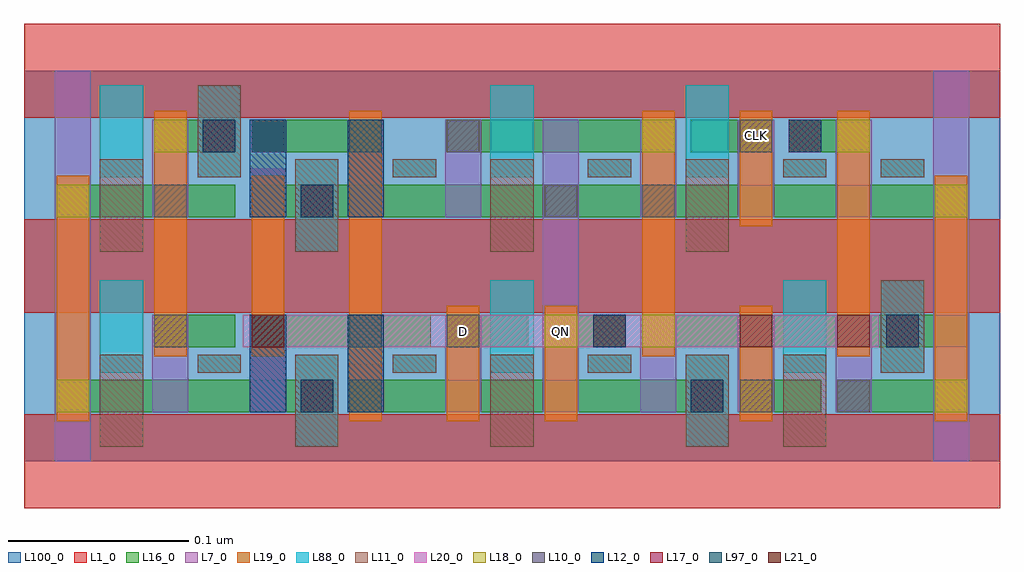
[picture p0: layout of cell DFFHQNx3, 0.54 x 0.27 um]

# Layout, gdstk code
import gdstk
lib = gdstk.Library(unit=1e-6, precision=2.5e-10)
def R(c, l, rs):  # rectangles x0, y0, x1, y1
    for r in rs: c.add(gdstk.rectangle(r[:2], r[2:], *l))
def A(c, l, x, y, w, h, nx, ny, dx, dy):  # array of equal rectangles
    R(c, l, [(x+i*dx, y+j*dy, x+i*dx+w, y+j*dy+h) for i in range(nx) for j in range(ny)])
L1_0 = (1, 0)
L7_0 = (7, 0)
L10_0 = (10, 0)
L11_0 = (11, 0)
L12_0 = (12, 0)
L16_0 = (16, 0)
L17_0 = (17, 0)
L18_0 = (18, 0)
L19_0 = (19, 0)
L20_0 = (20, 0)
L21_0 = (21, 0)
L88_0 = (88, 0)
L97_0 = (97, 0)
L100_0 = (100, 0)

dffhqnx3 = lib.new_cell('DFFHQNx3')
A(dffhqnx3, L1_0, 0, -0.026, 0.54, 0.052, 1, 3, 0, 0.108)
A(dffhqnx3, L7_0, 0.125, 0.027, 0.02, 0.054, 3, 1, 0.108, 0)
A(dffhqnx3, L7_0, 0.341, 0.135, 0.02, 0.054, 3, 1, 0.054, 0)
R(dffhqnx3, L7_0, [(0.017,0,0.037,0.108), (0.503,0,0.523,0.108), (0.071,0.027,0.091,0.081), (0.179,0.027,0.199,0.054), (0.287,0.027,0.307,0.108), (0.395,0.027,0.415,0.081), (0.449,0.027,0.469,0.081), (0.017,0.108,0.037,0.216), (0.287,0.108,0.307,0.189), (0.503,0.108,0.523,0.216), (0.071,0.135,0.091,0.189), (0.125,0.135,0.145,0.162), (0.179,0.135,0.199,0.189), (0.233,0.135,0.253,0.189)])
A(dffhqnx3, L10_0, 0.072, 0.063, 0.018, 0.018, 4, 1, 0.054, 0)
A(dffhqnx3, L10_0, 0.126, 0.171, 0.018, 0.018, 3, 1, 0.054, 0)
R(dffhqnx3, L10_0, [(0.18,0.027,0.198,0.045), (0.396,0.027,0.414,0.045), (0.45,0.027,0.468,0.045), (0.072,0.135,0.09,0.153), (0.288,0.135,0.306,0.153), (0.342,0.135,0.36,0.153), (0.396,0.171,0.414,0.189)])
A(dffhqnx3, L11_0, 0.042, 0.008, 0.024, 0.051, 4, 2, 0.108, 0.108)
A(dffhqnx3, L11_0, 0.096, 0.049, 0.024, 0.01, 3, 1, 0.108, 0)
A(dffhqnx3, L11_0, 0.204, 0.157, 0.024, 0.01, 3, 1, 0.108, 0)
R(dffhqnx3, L11_0, [(0.42,0.008,0.444,0.059), (0.474,0.049,0.498,0.1), (0.096,0.157,0.12,0.208), (0.474,0.157,0.498,0.167)])
R(dffhqnx3, L12_0, [(0.125,0.027,0.145,0.081), (0.179,0.027,0.199,0.081), (0.125,0.135,0.145,0.189), (0.179,0.135,0.199,0.189)])
R(dffhqnx3, L16_0, [(0.018,0.027,0.171,0.045), (0.18,0.027,0.387,0.045), (0.396,0.027,0.441,0.045), (0.45,0.027,0.522,0.045), (0.072,0.063,0.117,0.081), (0.126,0.063,0.225,0.081), (0.234,0.063,0.279,0.081), (0.288,0.063,0.333,0.081), (0.342,0.063,0.522,0.081), (0.018,0.135,0.117,0.153), (0.126,0.135,0.522,0.153), (0.072,0.171,0.117,0.189), (0.126,0.171,0.198,0.189), (0.234,0.171,0.36,0.189), (0.369,0.171,0.414,0.189), (0.423,0.171,0.468,0.189)])
R(dffhqnx3, L17_0, [(0.153,0.027,0.171,0.045), (0.369,0.027,0.387,0.045), (0.315,0.063,0.333,0.081), (0.477,0.063,0.495,0.081), (0.153,0.135,0.171,0.153), (0.099,0.171,0.117,0.189), (0.423,0.171,0.441,0.189)])
A(dffhqnx3, L18_0, 0.234, 0.063, 0.018, 0.018, 3, 1, 0.054, 0)
A(dffhqnx3, L18_0, 0.342, 0.171, 0.018, 0.018, 3, 1, 0.054, 0)
R(dffhqnx3, L18_0, [(0.018,0.027,0.036,0.045), (0.18,0.027,0.198,0.045), (0.396,0.027,0.414,0.045), (0.504,0.027,0.522,0.045), (0.072,0.063,0.09,0.081), (0.126,0.063,0.144,0.081), (0.018,0.135,0.036,0.153), (0.504,0.135,0.522,0.153), (0.072,0.171,0.09,0.189), (0.18,0.171,0.198,0.189)])
R(dffhqnx3, L19_0, [(0.018,0.022,0.036,0.158), (0.18,0.022,0.198,0.194), (0.234,0.022,0.252,0.086), (0.288,0.022,0.306,0.086), (0.396,0.022,0.414,0.086), (0.504,0.022,0.522,0.158), (0.072,0.058,0.09,0.194), (0.126,0.058,0.144,0.158), (0.342,0.058,0.36,0.194), (0.45,0.058,0.468,0.194), (0.396,0.13,0.414,0.194)])
R(dffhqnx3, L20_0, [(0.121,0.063,0.473,0.081)])
R(dffhqnx3, L21_0, [(0.126,0.063,0.144,0.081), (0.396,0.063,0.414,0.081), (0.45,0.063,0.468,0.081)])
A(dffhqnx3, L88_0, 0.096, 0.049, 0.024, 0.01, 3, 1, 0.108, 0)
A(dffhqnx3, L88_0, 0.204, 0.157, 0.024, 0.01, 3, 1, 0.108, 0)
R(dffhqnx3, L88_0, [(0.15,0.008,0.174,0.059), (0.366,0.008,0.39,0.059), (0.042,0.049,0.066,0.1), (0.258,0.049,0.282,0.1), (0.42,0.049,0.444,0.1), (0.474,0.049,0.498,0.1), (0.15,0.116,0.174,0.167), (0.042,0.157,0.066,0.208), (0.096,0.157,0.12,0.208), (0.258,0.157,0.282,0.208), (0.366,0.157,0.39,0.208), (0.474,0.157,0.498,0.167)])
R(dffhqnx3, L97_0, [(0.153,0.027,0.171,0.045), (0.369,0.027,0.387,0.045), (0.315,0.063,0.333,0.081), (0.477,0.063,0.495,0.081), (0.153,0.135,0.171,0.153), (0.099,0.171,0.117,0.189), (0.423,0.171,0.441,0.189)])
R(dffhqnx3, L100_0, [(0,0,0.54,0.216)])
dffhqnx3.add(gdstk.Label('CLK', (0.405,0.18), layer=19, texttype=251))
dffhqnx3.add(gdstk.Label('D', (0.243,0.072), layer=19, texttype=251))
dffhqnx3.add(gdstk.Label('QN', (0.297,0.072), layer=19, texttype=251))

lib.write_gds('DFFHQNx3.gds')
